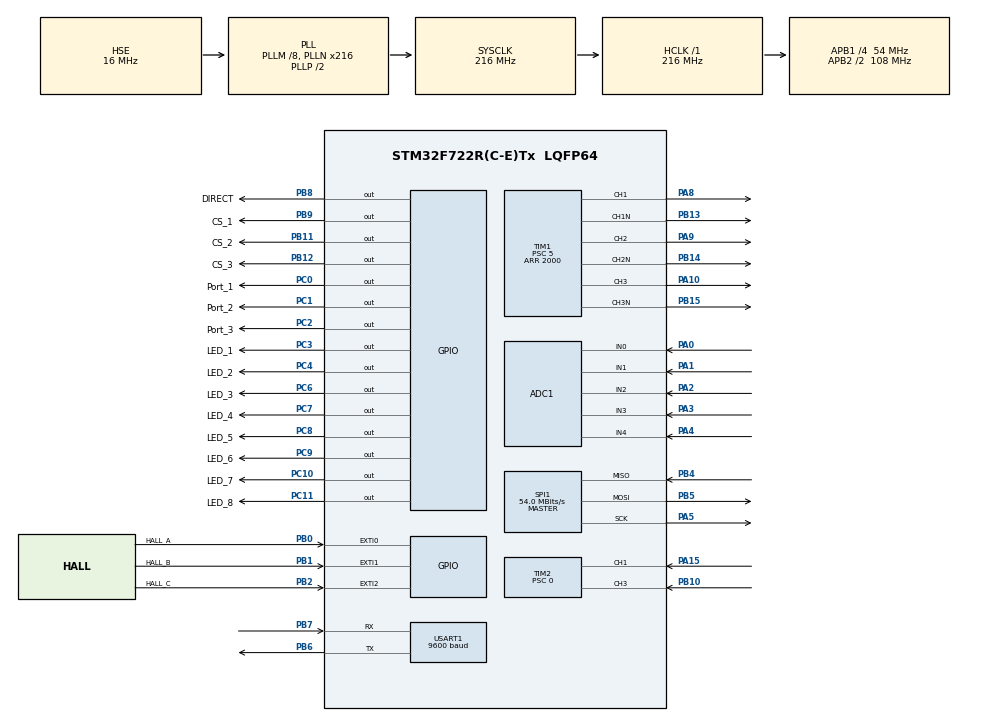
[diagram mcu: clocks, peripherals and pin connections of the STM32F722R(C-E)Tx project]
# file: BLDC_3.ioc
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ADC1.Channel-0\#ChannelRegularConversion=ADC_CHANNEL_0
ADC1.NbrOfConversionFlag=1
ADC1.Rank-0\#ChannelRegularConversion=1
ADC1.SamplingTime-0\#ChannelRegularConversion=ADC_SAMPLETIME_3CYCLES
ADC1.master=1
CORTEX_M7.default_mode_Activation=1
Dma.Request0=USART1_RX
Dma.Request1=USART1_TX
Dma.USART1_RX.0.Direction=DMA_PERIPH_TO_MEMORY
Dma.USART1_RX.0.FIFOMode=DMA_FIFOMODE_DISABLE
Dma.USART1_RX.0.Instance=DMA2_Stream2
Dma.USART1_RX.0.MemDataAlignment=DMA_MDATAALIGN_BYTE
Dma.USART1_RX.0.MemInc=DMA_MINC_ENABLE
Dma.USART1_RX.0.Mode=DMA_NORMAL
Dma.USART1_RX.0.PeriphDataAlignment=DMA_PDATAALIGN_BYTE
Dma.USART1_RX.0.PeriphInc=DMA_PINC_DISABLE
Dma.USART1_RX.0.Priority=DMA_PRIORITY_HIGH
Dma.USART1_TX.1.Direction=DMA_MEMORY_TO_PERIPH
Dma.USART1_TX.1.FIFOMode=DMA_FIFOMODE_DISABLE
Dma.USART1_TX.1.Instance=DMA2_Stream7
Dma.USART1_TX.1.MemDataAlignment=DMA_MDATAALIGN_BYTE
Dma.USART1_TX.1.MemInc=DMA_MINC_ENABLE
Dma.USART1_TX.1.Mode=DMA_NORMAL
Dma.USART1_TX.1.PeriphDataAlignment=DMA_PDATAALIGN_BYTE
Dma.USART1_TX.1.PeriphInc=DMA_PINC_DISABLE
Dma.USART1_TX.1.Priority=DMA_PRIORITY_LOW
FREERTOS.Tasks01=defaultTask,24,128,StartDefaultTask,Default,NULL,Dynamic,NULL,NULL;ModBusData,24,128,StartTask02,Default,NULL,Dynamic,NULL,NULL
FREERTOS.configUSE_NEWLIB_REENTRANT=1
Mcu.Family=STM32F7
Mcu.Name=STM32F722R(C-E)Tx
Mcu.Package=LQFP64
NVIC.DMA2_Stream2_IRQn=true\:5\:0\:false\:false\:true\:true\:false\:true\:true
NVIC.DMA2_Stream7_IRQn=true\:5\:0\:false\:false\:true\:true\:false\:true\:true
NVIC.EXTI0_IRQn=true\:5\:0\:true\:false\:true\:true\:true\:true\:true
NVIC.EXTI1_IRQn=true\:5\:0\:false\:false\:true\:true\:true\:true\:true
NVIC.EXTI2_IRQn=true\:5\:0\:false\:false\:true\:true\:true\:true\:true
NVIC.PriorityGroup=NVIC_PRIORITYGROUP_4
NVIC.RCC_IRQn=true\:5\:0\:false\:false\:true\:true\:true\:false\:true
NVIC.TIM2_IRQn=true\:5\:0\:false\:false\:true\:true\:true\:true\:true
NVIC.TIM8_TRG_COM_TIM14_IRQn=true\:15\:0\:false\:false\:true\:false\:false\:true\:true
NVIC.TimeBase=TIM8_TRG_COM_TIM14_IRQn
NVIC.TimeBaseIP=TIM14
NVIC.USART1_IRQn=true\:5\:0\:false\:false\:true\:true\:true\:true\:true
PA0-WKUP.Signal=ADCx_IN0
PA1.Signal=ADCx_IN1
PA10.Signal=S_TIM1_CH3
PA13.Mode=Trace_Asynchronous_SW
PA13.Signal=SYS_JTMS-SWDIO
PA14.Mode=Trace_Asynchronous_SW
PA14.Signal=SYS_JTCK-SWCLK
PA15.Signal=S_TIM2_CH1_ETR
PA2.Signal=ADCx_IN2
PA3.Signal=ADCx_IN3
PA4.Signal=ADCx_IN4
PA5.Mode=Full_Duplex_Master
PA5.Signal=SPI1_SCK
PA8.Signal=S_TIM1_CH1
PA9.Signal=S_TIM1_CH2
PB0.GPIO_Label=HALL_A
PB0.GPIO_ModeDefaultEXTI=GPIO_MODE_IT_RISING_FALLING
PB0.Signal=GPXTI0
PB1.GPIO_Label=HALL_B
PB1.GPIO_ModeDefaultEXTI=GPIO_MODE_IT_RISING_FALLING
PB1.Signal=GPXTI1
PB10.Signal=S_TIM2_CH3
PB11.GPIO_Label=CS_2
PB11.Signal=GPIO_Output
PB12.GPIO_Label=CS_3
PB12.Signal=GPIO_Output
PB13.Mode=PWM Generation1 CH1 CH1N
PB13.Signal=TIM1_CH1N
PB14.Mode=PWM Generation2 CH2 CH2N
PB14.Signal=TIM1_CH2N
PB15.Mode=PWM Generation3 CH3 CH3N
PB15.Signal=TIM1_CH3N
PB2.GPIO_Label=HALL_C
PB2.GPIO_ModeDefaultEXTI=GPIO_MODE_IT_RISING_FALLING
PB2.Signal=GPXTI2
PB3.Mode=Trace_Asynchronous_SW
PB3.Signal=SYS_JTDO-SWO
PB4.Mode=Full_Duplex_Master
PB4.Signal=SPI1_MISO
PB5.Mode=Full_Duplex_Master
PB5.Signal=SPI1_MOSI
PB6.Mode=Asynchronous
PB6.Signal=USART1_TX
PB7.Mode=Asynchronous
PB7.Signal=USART1_RX
PB8.GPIO_Label=DIRECT
PB8.Signal=GPIO_Output
PB9.GPIO_Label=CS_1
PB9.Signal=GPIO_Output
PC0.GPIO_Label=Port_1
PC0.Signal=GPIO_Output
PC1.GPIO_Label=Port_2
PC1.Signal=GPIO_Output
PC10.GPIO_Label=LED_7
PC10.Signal=GPIO_Output
PC11.GPIO_Label=LED_8
PC11.Signal=GPIO_Output
PC2.GPIO_Label=Port_3
PC2.Signal=GPIO_Output
PC3.GPIO_Label=LED_1
PC3.Signal=GPIO_Output
PC4.GPIO_Label=LED_2
PC4.Signal=GPIO_Output
PC6.GPIO_Label=LED_3
PC6.Signal=GPIO_Output
PC7.GPIO_Label=LED_4
PC7.Signal=GPIO_Output
PC8.GPIO_Label=LED_5
PC8.Signal=GPIO_Output
PC9.GPIO_Label=LED_6
PC9.Signal=GPIO_Output
PH0-OSC_IN.Mode=HSE-External-Oscillator
PH0-OSC_IN.Signal=RCC_OSC_IN
PH1-OSC_OUT.Mode=HSE-External-Oscillator
PH1-OSC_OUT.Signal=RCC_OSC_OUT
ProjectManager.HeapSize=0x200
ProjectManager.StackSize=0x400
ProjectManager.TargetToolchain=STM32CubeIDE
RCC.AHBFreq_Value=216000000
RCC.APB1CLKDivider=RCC_HCLK_DIV4
RCC.APB1Freq_Value=54000000
RCC.APB1TimFreq_Value=108000000
RCC.APB2CLKDivider=RCC_HCLK_DIV2
RCC.APB2Freq_Value=108000000
RCC.APB2TimFreq_Value=216000000
RCC.CortexFreq_Value=216000000
RCC.HCLKFreq_Value=216000000
RCC.HSE_VALUE=16000000
RCC.HSI_VALUE=16000000
RCC.LSE_VALUE=32768
RCC.PLLM=8
RCC.PLLN=216
RCC.PLLSourceVirtual=RCC_PLLSOURCE_HSE
RCC.SYSCLKFreq_VALUE=216000000
RCC.SYSCLKSource=RCC_SYSCLKSOURCE_PLLCLK
RCC.USBFreq_Value=216000000
RCC.VCOOutputFreq_Value=432000000
SH.ADCx_IN0.0=ADC1_IN0,IN0
SH.ADCx_IN1.0=ADC1_IN1,IN1
SH.ADCx_IN2.0=ADC1_IN2,IN2
SH.ADCx_IN3.0=ADC1_IN3,IN3
SH.ADCx_IN4.0=ADC1_IN4,IN4
SH.S_TIM1_CH1.0=TIM1_CH1,PWM Generation1 CH1 CH1N
SH.S_TIM1_CH2.0=TIM1_CH2,PWM Generation2 CH2 CH2N
SH.S_TIM1_CH3.0=TIM1_CH3,PWM Generation3 CH3 CH3N
SH.S_TIM2_CH1_ETR.0=TIM2_CH1,Input_Capture1_from_TI1
SH.S_TIM2_CH3.0=TIM2_CH3,Input_Capture3_from_TI3
SPI1.BaudRatePrescaler=SPI_BAUDRATEPRESCALER_2
SPI1.CalculateBaudRate=54.0 MBits/s
SPI1.Direction=SPI_DIRECTION_2LINES
SPI1.Mode=SPI_MODE_MASTER
SPI1.VirtualType=VM_MASTER
TIM1.Channel-PWM\ Generation1\ CH1\ CH1N=TIM_CHANNEL_1
TIM1.Channel-PWM\ Generation2\ CH2\ CH2N=TIM_CHANNEL_2
TIM1.Channel-PWM\ Generation3\ CH3\ CH3N=TIM_CHANNEL_3
TIM1.DeadTime=255
TIM1.OCFastMode_PWM-PWM\ Generation1\ CH1\ CH1N=TIM_OCFAST_ENABLE
TIM1.OCFastMode_PWM-PWM\ Generation2\ CH2\ CH2N=TIM_OCFAST_ENABLE
TIM1.OCFastMode_PWM-PWM\ Generation3\ CH3\ CH3N=TIM_OCFAST_ENABLE
TIM1.OCIdleState_1=TIM_OCIDLESTATE_RESET
TIM1.OCIdleState_2=TIM_OCIDLESTATE_RESET
TIM1.OCIdleState_3=TIM_OCIDLESTATE_RESET
TIM1.OCNIdleState_1=TIM_OCNIDLESTATE_RESET
TIM1.OCNIdleState_2=TIM_OCNIDLESTATE_RESET
TIM1.OCNIdleState_3=TIM_OCNIDLESTATE_RESET
TIM1.OCNPolarity_1=TIM_OCNPOLARITY_HIGH
TIM1.OCNPolarity_2=TIM_OCNPOLARITY_HIGH
TIM1.OCNPolarity_3=TIM_OCNPOLARITY_HIGH
TIM1.OCPolarity_1=TIM_OCPOLARITY_HIGH
TIM1.OCPolarity_2=TIM_OCPOLARITY_HIGH
TIM1.OCPolarity_3=TIM_OCPOLARITY_HIGH
TIM1.Period=2000
TIM1.Prescaler=5
TIM1.Pulse-PWM\ Generation1\ CH1\ CH1N=1000
TIM1.Pulse-PWM\ Generation2\ CH2\ CH2N=1000
TIM1.Pulse-PWM\ Generation3\ CH3\ CH3N=1000
TIM2.Channel-Input_Capture1_from_TI1=TIM_CHANNEL_1
TIM2.Channel-Input_Capture2_from_TI1_63=TIM_CHANNEL_2
TIM2.Channel-Input_Capture3_from_TI3=TIM_CHANNEL_3
TIM2.Channel-Input_Capture4_from_TI3_63=TIM_CHANNEL_4
TIM2.ICFilter_CH1=13
TIM2.ICFilter_CH3=13
TIM2.ICPolarity_CH1=TIM_INPUTCHANNELPOLARITY_FALLING
TIM2.ICPolarity_CH2=TIM_INPUTCHANNELPOLARITY_RISING
TIM2.Prescaler=0
USART1.BaudRate=9600
USART1.VirtualMode-Asynchronous=VM_ASYNC
VP_FREERTOS_VS_CMSIS_V2.Mode=CMSIS_V2
VP_SYS_VS_tim14.Mode=TIM14
VP_TIM1_VS_ClockSourceINT.Mode=Internal
VP_TIM2_VS_ClockSourceINT.Mode=Internal
VP_TIM2_VS_indirect_ch1.Mode=Input_Capture2_from_TI1_63
VP_TIM2_VS_indirect_ch3.Mode=Input_Capture4_from_TI3_63
board=custom

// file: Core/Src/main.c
/* USER CODE BEGIN Header */
/**
  ******************************************************************************
  * @file           : main.c
  * @brief          : Main program body
  ******************************************************************************
  * @attention
  *
  * Copyright (c) 2025 STMicroelectronics.
  * All rights reserved.
  *
  * This software is licensed under terms that can be found in the LICENSE file
  * in the root directory of this software component.
  * If no LICENSE file comes with this software, it is provided AS-IS.
  *
  ******************************************************************************
  */
/* USER CODE END Header */
#include "main.h"
#include "cmsis_os.h"

/* USER CODE BEGIN Includes */
#include "stdbool.h"
#include "modbusDevice.h"
#include "modbusSlave.h"
#include "Registers_handler.h"
#include "BLDC.h"
/* USER CODE END Includes */

/* USER CODE BEGIN PTD */

#define RX_BUFFER_SIZE 64
#define USART_TIMEOUT 900 // Таймаут в миллисекундах
#define ROTATE_TIME 2000
#define UPDATE_TIME 1000 //время прироста ШИМ на один шаг
#define ADC_NUM_CHANNELS 4  // Количество каналов

// Константы для избежания плавающей точки
#define CPU_FREQ_HZ 216000000
#define CALC_CONSTANT (60 * CPU_FREQ_HZ / NUM_MAGNETS)

#define ANGLE_OF_ATTACK 15
uint16_t adc_values[ADC_NUM_CHANNELS];
uint32_t lastActivityTime = 0;
 bool usartBusy = false;
 uint8_t rxFrame[64];
 uint8_t txFrame[255];
 uint8_t SLAVE_ID=2;
 uint16_t data_reg[16]={0,};
 uint16_t rcv_data_reg[16]={0,};
 uint8_t dicreteInputs=0;
 uint8_t coils=0;
 uint16_t timer1Freq=0;
 uint16_t timer3Freq=0;
 uint16_t auto_mode_timer=0;
 uint32_t pwm=0;

 uint32_t timerClockFreq = 72000000;
 volatile uint32_t period=0;
 uint16_t f=0;
 volatile uint32_t rpm=0;
 uint32_t moove=0;

 bool pwm_status=0;
 bool dataStates[16];
 bool coil_1=0;
 bool coil_2=0;
 bool coil_3=0;
 bool coil_4=0;

 bool BLDC_STATE[3] = {0,0,0};
 bool auto_mode=0;
 bool pwr_on=0;

/* USER CODE END PTD */

ADC_HandleTypeDef hadc1;

SPI_HandleTypeDef hspi1;

TIM_HandleTypeDef htim1;
TIM_HandleTypeDef htim2;

UART_HandleTypeDef huart1;
DMA_HandleTypeDef hdma_usart1_rx;
DMA_HandleTypeDef hdma_usart1_tx;

/* Definitions for defaultTask */
osThreadId_t defaultTaskHandle;
const osThreadAttr_t defaultTask_attributes = {
  .name = "defaultTask",
  .stack_size = 128 * 4,
  .priority = (osPriority_t) osPriorityNormal,
};
/* Definitions for ModBusData */
osThreadId_t ModBusDataHandle;
const osThreadAttr_t ModBusData_attributes = {
  .name = "ModBusData",
  .stack_size = 128 * 4,
  .priority = (osPriority_t) osPriorityNormal,
};

void SystemClock_Config(void);
static void MPU_Config(void);
static void MX_GPIO_Init(void);
static void MX_DMA_Init(void);
static void MX_TIM1_Init(void);
static void MX_TIM2_Init(void);
static void MX_USART1_UART_Init(void);
static void MX_ADC1_Init(void);
static void MX_SPI1_Init(void);
void StartDefaultTask(void *argument);
void StartTask02(void *argument);

/* USER CODE BEGIN PFP */
void Check_USART1_Timeout(void);
void Reset_USART1(void);
uint16_t calculateTimerFrequency(TIM_TypeDef *TIMx, uint32_t timerClockFreq);
/* USER CODE END PFP */

int main(void)
{

  /* MPU Configuration--------------------------------------------------------*/
  MPU_Config();

  /* MCU Configuration--------------------------------------------------------*/

  /* Reset of all peripherals, Initializes the Flash interface and the Systick. */
  HAL_Init();

  /* Configure the system clock */
  SystemClock_Config();

  /* Initialize all configured peripherals */
  MX_GPIO_Init();
  MX_DMA_Init();
  MX_TIM1_Init();
  MX_TIM2_Init();
  MX_USART1_UART_Init();
  MX_ADC1_Init();
  MX_SPI1_Init();
  /* USER CODE BEGIN 2 */
  TX_2;
  LED_1_ON ;
  LED_2_ON ;
  LED_3_ON ;
  LED_4_ON ;
  LED_5_ON ;
  LED_6_ON ;
  LED_7_ON ;
  LED_8_ON ;
  HAL_Delay(500);
  DRIVE_1_ON;
  DRIVE_2_ON;
  DRIVE_3_ON;
  HAL_UARTEx_ReceiveToIdle_DMA(&huart1, rxFrame, RX_BUFFER_SIZE);
    __HAL_DMA_DISABLE_IT(&hdma_usart1_rx, DMA_IT_HT);

    HAL_TIM_Base_Start_IT(&htim2);
    HAL_TIM_IC_Start_IT(&htim2, TIM_CHANNEL_1);
    HAL_TIM_IC_Start_IT(&htim2, TIM_CHANNEL_2);
    HAL_TIM_IC_Start_IT(&htim2, TIM_CHANNEL_3);
    HAL_TIM_IC_Start_IT(&htim2, TIM_CHANNEL_4);
/*
    HAL_TIM_PWM_Start(&htim1, TIM_CHANNEL_1);
	HAL_TIMEx_PWMN_Start(&htim1, TIM_CHANNEL_1);
	HAL_TIM_PWM_Start(&htim1, TIM_CHANNEL_2);
	HAL_TIMEx_PWMN_Start(&htim1, TIM_CHANNEL_2);
	HAL_TIM_PWM_Start(&htim1, TIM_CHANNEL_3);
	HAL_TIMEx_PWMN_Start(&htim1, TIM_CHANNEL_3);
*/
    LED_1_OFF ;
    LED_2_OFF ;
    LED_3_OFF ;
    LED_4_OFF ;
    LED_5_OFF ;
    LED_6_OFF ;
    LED_7_OFF ;
    LED_8_OFF ;
  //  DRIVE_1_OFF;
  //  DRIVE_2_OFF;
  //  DRIVE_3_OFF;
    RX_2;

  /* USER CODE END 2 */

  /* Init scheduler */
  osKernelInitialize();

  /* Create the thread(s) */
  /* creation of defaultTask */
  defaultTaskHandle = osThreadNew(StartDefaultTask, NULL, &defaultTask_attributes);

  /* creation of ModBusData */
  ModBusDataHandle = osThreadNew(StartTask02, NULL, &ModBusData_attributes);

  /* Start scheduler */
  osKernelStart();

  /* We should never get here as control is now taken by the scheduler */

  /* Infinite loop */
  while (1)
  {

  }
}

void SystemClock_Config(void)
{
  RCC_OscInitTypeDef RCC_OscInitStruct = {0};
  RCC_ClkInitTypeDef RCC_ClkInitStruct = {0};

  /** Configure the main internal regulator output voltage
  */
  __HAL_RCC_PWR_CLK_ENABLE();
  __HAL_PWR_VOLTAGESCALING_CONFIG(PWR_REGULATOR_VOLTAGE_SCALE1);

  /** Initializes the RCC Oscillators according to the specified parameters
  * in the RCC_OscInitTypeDef structure.
  */
  RCC_OscInitStruct.OscillatorType = RCC_OSCILLATORTYPE_HSE;
  RCC_OscInitStruct.HSEState = RCC_HSE_ON;
  RCC_OscInitStruct.PLL.PLLState = RCC_PLL_ON;
  RCC_OscInitStruct.PLL.PLLSource = RCC_PLLSOURCE_HSE;
  RCC_OscInitStruct.PLL.PLLM = 8;
  RCC_OscInitStruct.PLL.PLLN = 216;
  RCC_OscInitStruct.PLL.PLLP = RCC_PLLP_DIV2;
  RCC_OscInitStruct.PLL.PLLQ = 2;
  if (HAL_RCC_OscConfig(&RCC_OscInitStruct) != HAL_OK)
  {
    Error_Handler();
  }

  /** Activate the Over-Drive mode
  */
  if (HAL_PWREx_EnableOverDrive() != HAL_OK)
  {
    Error_Handler();
  }

  /** Initializes the CPU, AHB and APB buses clocks
  */
  RCC_ClkInitStruct.ClockType = RCC_CLOCKTYPE_HCLK|RCC_CLOCKTYPE_SYSCLK
                              |RCC_CLOCKTYPE_PCLK1|RCC_CLOCKTYPE_PCLK2;
  RCC_ClkInitStruct.SYSCLKSource = RCC_SYSCLKSOURCE_PLLCLK;
  RCC_ClkInitStruct.AHBCLKDivider = RCC_SYSCLK_DIV1;
  RCC_ClkInitStruct.APB1CLKDivider = RCC_HCLK_DIV4;
  RCC_ClkInitStruct.APB2CLKDivider = RCC_HCLK_DIV2;

  if (HAL_RCC_ClockConfig(&RCC_ClkInitStruct, FLASH_LATENCY_7) != HAL_OK)
  {
    Error_Handler();
  }
}

static void MX_ADC1_Init(void)
{

  ADC_ChannelConfTypeDef sConfig = {0};

  /** Configure the global features of the ADC (Clock, Resolution, Data Alignment and number of conversion)
  */
  hadc1.Instance = ADC1;
  hadc1.Init.ClockPrescaler = ADC_CLOCK_SYNC_PCLK_DIV4;
  hadc1.Init.Resolution = ADC_RESOLUTION_12B;
  hadc1.Init.ScanConvMode = ADC_SCAN_DISABLE;
  hadc1.Init.ContinuousConvMode = DISABLE;
  hadc1.Init.DiscontinuousConvMode = DISABLE;
  hadc1.Init.ExternalTrigConvEdge = ADC_EXTERNALTRIGCONVEDGE_NONE;
  hadc1.Init.ExternalTrigConv = ADC_SOFTWARE_START;
  hadc1.Init.DataAlign = ADC_DATAALIGN_RIGHT;
  hadc1.Init.NbrOfConversion = 1;
  hadc1.Init.DMAContinuousRequests = DISABLE;
  hadc1.Init.EOCSelection = ADC_EOC_SINGLE_CONV;
  if (HAL_ADC_Init(&hadc1) != HAL_OK)
  {
    Error_Handler();
  }

  /** Configure for the selected ADC regular channel its corresponding rank in the sequencer and its sample time.
  */
  sConfig.Channel = ADC_CHANNEL_0;
  sConfig.Rank = ADC_REGULAR_RANK_1;
  sConfig.SamplingTime = ADC_SAMPLETIME_3CYCLES;
  if (HAL_ADC_ConfigChannel(&hadc1, &sConfig) != HAL_OK)
  {
    Error_Handler();
  }

}

static void MX_SPI1_Init(void)
{

  /* SPI1 parameter configuration*/
  hspi1.Instance = SPI1;
  hspi1.Init.Mode = SPI_MODE_MASTER;
  hspi1.Init.Direction = SPI_DIRECTION_2LINES;
  hspi1.Init.DataSize = SPI_DATASIZE_4BIT;
  hspi1.Init.CLKPolarity = SPI_POLARITY_LOW;
  hspi1.Init.CLKPhase = SPI_PHASE_1EDGE;
  hspi1.Init.NSS = SPI_NSS_SOFT;
  hspi1.Init.BaudRatePrescaler = SPI_BAUDRATEPRESCALER_2;
  hspi1.Init.FirstBit = SPI_FIRSTBIT_MSB;
  hspi1.Init.TIMode = SPI_TIMODE_DISABLE;
  hspi1.Init.CRCCalculation = SPI_CRCCALCULATION_DISABLE;
  hspi1.Init.CRCPolynomial = 7;
  hspi1.Init.CRCLength = SPI_CRC_LENGTH_DATASIZE;
  hspi1.Init.NSSPMode = SPI_NSS_PULSE_ENABLE;
  if (HAL_SPI_Init(&hspi1) != HAL_OK)
  {
    Error_Handler();
  }

}

static void MX_TIM1_Init(void)
{

  TIM_ClockConfigTypeDef sClockSourceConfig = {0};
  TIM_MasterConfigTypeDef sMasterConfig = {0};
  TIM_OC_InitTypeDef sConfigOC = {0};
  TIM_BreakDeadTimeConfigTypeDef sBreakDeadTimeConfig = {0};

  htim1.Instance = TIM1;
  htim1.Init.Prescaler = 5;
  htim1.Init.CounterMode = TIM_COUNTERMODE_UP;
  htim1.Init.Period = 2000;
  htim1.Init.ClockDivision = TIM_CLOCKDIVISION_DIV1;
  htim1.Init.RepetitionCounter = 0;
  htim1.Init.AutoReloadPreload = TIM_AUTORELOAD_PRELOAD_DISABLE;
  if (HAL_TIM_Base_Init(&htim1) != HAL_OK)
  {
    Error_Handler();
  }
  sClockSourceConfig.ClockSource = TIM_CLOCKSOURCE_INTERNAL;
  if (HAL_TIM_ConfigClockSource(&htim1, &sClockSourceConfig) != HAL_OK)
  {
    Error_Handler();
  }
  if (HAL_TIM_PWM_Init(&htim1) != HAL_OK)
  {
    Error_Handler();
  }
  sMasterConfig.MasterOutputTrigger = TIM_TRGO_RESET;
  sMasterConfig.MasterOutputTrigger2 = TIM_TRGO2_RESET;
  sMasterConfig.MasterSlaveMode = TIM_MASTERSLAVEMODE_DISABLE;
  if (HAL_TIMEx_MasterConfigSynchronization(&htim1, &sMasterConfig) != HAL_OK)
  {
    Error_Handler();
  }
  sConfigOC.OCMode = TIM_OCMODE_PWM1;
  sConfigOC.Pulse = 1000;
  sConfigOC.OCPolarity = TIM_OCPOLARITY_HIGH;
  sConfigOC.OCNPolarity = TIM_OCNPOLARITY_HIGH;
  sConfigOC.OCFastMode = TIM_OCFAST_ENABLE;
  sConfigOC.OCIdleState = TIM_OCIDLESTATE_RESET;
  sConfigOC.OCNIdleState = TIM_OCNIDLESTATE_RESET;
  if (HAL_TIM_PWM_ConfigChannel(&htim1, &sConfigOC, TIM_CHANNEL_1) != HAL_OK)
  {
    Error_Handler();
  }
  if (HAL_TIM_PWM_ConfigChannel(&htim1, &sConfigOC, TIM_CHANNEL_2) != HAL_OK)
  {
    Error_Handler();
  }
  if (HAL_TIM_PWM_ConfigChannel(&htim1, &sConfigOC, TIM_CHANNEL_3) != HAL_OK)
  {
    Error_Handler();
  }
  sBreakDeadTimeConfig.OffStateRunMode = TIM_OSSR_DISABLE;
  sBreakDeadTimeConfig.OffStateIDLEMode = TIM_OSSI_DISABLE;
  sBreakDeadTimeConfig.LockLevel = TIM_LOCKLEVEL_OFF;
  sBreakDeadTimeConfig.DeadTime = 255;
  sBreakDeadTimeConfig.BreakState = TIM_BREAK_DISABLE;
  sBreakDeadTimeConfig.BreakPolarity = TIM_BREAKPOLARITY_HIGH;
  sBreakDeadTimeConfig.BreakFilter = 0;
  sBreakDeadTimeConfig.Break2State = TIM_BREAK2_DISABLE;
  sBreakDeadTimeConfig.Break2Polarity = TIM_BREAK2POLARITY_HIGH;
  sBreakDeadTimeConfig.Break2Filter = 0;
  sBreakDeadTimeConfig.AutomaticOutput = TIM_AUTOMATICOUTPUT_DISABLE;
  if (HAL_TIMEx_ConfigBreakDeadTime(&htim1, &sBreakDeadTimeConfig) != HAL_OK)
  {
    Error_Handler();
  }
  HAL_TIM_MspPostInit(&htim1);

}

static void MX_TIM2_Init(void)
{

  TIM_ClockConfigTypeDef sClockSourceConfig = {0};
  TIM_MasterConfigTypeDef sMasterConfig = {0};
  TIM_IC_InitTypeDef sConfigIC = {0};

  htim2.Instance = TIM2;
  htim2.Init.Prescaler = 0;
  htim2.Init.CounterMode = TIM_COUNTERMODE_UP;
  htim2.Init.Period = 4294967295;
  htim2.Init.ClockDivision = TIM_CLOCKDIVISION_DIV1;
  htim2.Init.AutoReloadPreload = TIM_AUTORELOAD_PRELOAD_DISABLE;
  if (HAL_TIM_Base_Init(&htim2) != HAL_OK)
  {
    Error_Handler();
  }
  sClockSourceConfig.ClockSource = TIM_CLOCKSOURCE_INTERNAL;
  if (HAL_TIM_ConfigClockSource(&htim2, &sClockSourceConfig) != HAL_OK)
  {
    Error_Handler();
  }
  if (HAL_TIM_IC_Init(&htim2) != HAL_OK)
  {
    Error_Handler();
  }
  sMasterConfig.MasterOutputTrigger = TIM_TRGO_RESET;
  sMasterConfig.MasterSlaveMode = TIM_MASTERSLAVEMODE_DISABLE;
  if (HAL_TIMEx_MasterConfigSynchronization(&htim2, &sMasterConfig) != HAL_OK)
  {
    Error_Handler();
  }
  sConfigIC.ICPolarity = TIM_INPUTCHANNELPOLARITY_FALLING;
  sConfigIC.ICSelection = TIM_ICSELECTION_DIRECTTI;
  sConfigIC.ICPrescaler = TIM_ICPSC_DIV1;
  sConfigIC.ICFilter = 13;
  if (HAL_TIM_IC_ConfigChannel(&htim2, &sConfigIC, TIM_CHANNEL_1) != HAL_OK)
  {
    Error_Handler();
  }
  sConfigIC.ICPolarity = TIM_INPUTCHANNELPOLARITY_RISING;
  sConfigIC.ICSelection = TIM_ICSELECTION_INDIRECTTI;
  sConfigIC.ICFilter = 0;
  if (HAL_TIM_IC_ConfigChannel(&htim2, &sConfigIC, TIM_CHANNEL_2) != HAL_OK)
  {
    Error_Handler();
  }
  sConfigIC.ICSelection = TIM_ICSELECTION_DIRECTTI;
  sConfigIC.ICFilter = 13;
  if (HAL_TIM_IC_ConfigChannel(&htim2, &sConfigIC, TIM_CHANNEL_3) != HAL_OK)
  {
    Error_Handler();
  }
  sConfigIC.ICSelection = TIM_ICSELECTION_INDIRECTTI;
  sConfigIC.ICFilter = 0;
  if (HAL_TIM_IC_ConfigChannel(&htim2, &sConfigIC, TIM_CHANNEL_4) != HAL_OK)
  {
    Error_Handler();
  }

}

static void MX_USART1_UART_Init(void)
{

  huart1.Instance = USART1;
  huart1.Init.BaudRate = 9600;
  huart1.Init.WordLength = UART_WORDLENGTH_8B;
  huart1.Init.StopBits = UART_STOPBITS_1;
  huart1.Init.Parity = UART_PARITY_NONE;
  huart1.Init.Mode = UART_MODE_TX_RX;
  huart1.Init.HwFlowCtl = UART_HWCONTROL_NONE;
  huart1.Init.OverSampling = UART_OVERSAMPLING_16;
  huart1.Init.OneBitSampling = UART_ONE_BIT_SAMPLE_DISABLE;
  huart1.AdvancedInit.AdvFeatureInit = UART_ADVFEATURE_NO_INIT;
  if (HAL_UART_Init(&huart1) != HAL_OK)
  {
    Error_Handler();
  }

}

static void MX_DMA_Init(void)
{

  /* DMA controller clock enable */
  __HAL_RCC_DMA2_CLK_ENABLE();

  /* DMA interrupt init */
  /* DMA2_Stream2_IRQn interrupt configuration */
  HAL_NVIC_SetPriority(DMA2_Stream2_IRQn, 5, 0);
  HAL_NVIC_EnableIRQ(DMA2_Stream2_IRQn);
  /* DMA2_Stream7_IRQn interrupt configuration */
  HAL_NVIC_SetPriority(DMA2_Stream7_IRQn, 5, 0);
  HAL_NVIC_EnableIRQ(DMA2_Stream7_IRQn);

}

static void MX_GPIO_Init(void)
{
  GPIO_InitTypeDef GPIO_InitStruct = {0};

  /* GPIO Ports Clock Enable */
  __HAL_RCC_GPIOH_CLK_ENABLE();
  __HAL_RCC_GPIOC_CLK_ENABLE();
  __HAL_RCC_GPIOA_CLK_ENABLE();
  __HAL_RCC_GPIOB_CLK_ENABLE();

  /*Configure GPIO pin Output Level */
  HAL_GPIO_WritePin(GPIOC, Port_1_Pin|Port_2_Pin|Port_3_Pin|LED_1_Pin
                          |LED_2_Pin|LED_3_Pin|LED_4_Pin|LED_5_Pin
                          |LED_6_Pin|LED_7_Pin|LED_8_Pin, GPIO_PIN_RESET);

  /*Configure GPIO pin Output Level */
  HAL_GPIO_WritePin(GPIOB, CS_2_Pin|CS_3_Pin|DIRECT_Pin|CS_1_Pin, GPIO_PIN_RESET);

  /*Configure GPIO pins : Port_1_Pin Port_2_Pin Port_3_Pin LED_1_Pin
                           LED_2_Pin LED_3_Pin LED_4_Pin LED_5_Pin
                           LED_6_Pin LED_7_Pin LED_8_Pin */
  GPIO_InitStruct.Pin = Port_1_Pin|Port_2_Pin|Port_3_Pin|LED_1_Pin
                          |LED_2_Pin|LED_3_Pin|LED_4_Pin|LED_5_Pin
                          |LED_6_Pin|LED_7_Pin|LED_8_Pin;
  GPIO_InitStruct.Mode = GPIO_MODE_OUTPUT_PP;
  GPIO_InitStruct.Pull = GPIO_NOPULL;
  GPIO_InitStruct.Speed = GPIO_SPEED_FREQ_LOW;
  HAL_GPIO_Init(GPIOC, &GPIO_InitStruct);

  /*Configure GPIO pins : HALL_A_Pin HALL_B_Pin HALL_C_Pin */
  GPIO_InitStruct.Pin = HALL_A_Pin|HALL_B_Pin|HALL_C_Pin;
  GPIO_InitStruct.Mode = GPIO_MODE_IT_RISING_FALLING;
  GPIO_InitStruct.Pull = GPIO_NOPULL;
  HAL_GPIO_Init(GPIOB, &GPIO_InitStruct);

  /*Configure GPIO pins : CS_2_Pin CS_3_Pin DIRECT_Pin CS_1_Pin */
  GPIO_InitStruct.Pin = CS_2_Pin|CS_3_Pin|DIRECT_Pin|CS_1_Pin;
  GPIO_InitStruct.Mode = GPIO_MODE_OUTPUT_PP;
  GPIO_InitStruct.Pull = GPIO_NOPULL;
  GPIO_InitStruct.Speed = GPIO_SPEED_FREQ_LOW;
  HAL_GPIO_Init(GPIOB, &GPIO_InitStruct);

  /* EXTI interrupt init*/
  HAL_NVIC_SetPriority(EXTI0_IRQn, 5, 0);
  HAL_NVIC_EnableIRQ(EXTI0_IRQn);

  HAL_NVIC_SetPriority(EXTI1_IRQn, 5, 0);
  HAL_NVIC_EnableIRQ(EXTI1_IRQn);

  HAL_NVIC_SetPriority(EXTI2_IRQn, 5, 0);
  HAL_NVIC_EnableIRQ(EXTI2_IRQn);

}

/* USER CODE BEGIN 4 */

uint16_t calculateTimerFrequency(TIM_TypeDef *TIMx, uint32_t timerClockFreq) {
    uint32_t arr = TIMx->ARR;  // Значение ARR
    return timerClockFreq / (arr + 1);
}

void Reset_USART1(void) {
    // Включить индикатор (если требуется)
    LED_4_ON;

    // Остановить передачу и прием по DMA
    if (HAL_UART_DMAStop(&huart1) != HAL_OK) {
        // Обработка ошибки
    }

    // Прерывание активных DMA транзакций
    if (hdma_usart1_rx.Instance != NULL) {
        HAL_DMA_Abort(&hdma_usart1_rx);
    }
    if (hdma_usart1_tx.Instance != NULL) {
        HAL_DMA_Abort(&hdma_usart1_tx);
    }

    // Отключить все прерывания UART
    __HAL_UART_DISABLE_IT(&huart1, UART_IT_IDLE | UART_IT_TC | UART_IT_RXNE);

    // Сбросить флаги ошибок UART
    __HAL_UART_CLEAR_OREFLAG(&huart1);
    __HAL_UART_CLEAR_FEFLAG(&huart1);

    // Сбросить периферийный модуль USART1
    __HAL_RCC_USART1_FORCE_RESET();
    HAL_Delay(1); // Задержка для завершения сброса
    __HAL_RCC_USART1_RELEASE_RESET();

    // Деинициализация UART
    if (HAL_UART_DeInit(&huart1) != HAL_OK) {
        // Обработка ошибки
    }

    // Повторная инициализация UART
    MX_USART1_UART_Init();

    // Повторная настройка DMA
    MX_DMA_Init();

    // Настройка UART для приема данных с использованием DMA
    if (HAL_UARTEx_ReceiveToIdle_DMA(&huart1, rxFrame, RX_BUFFER_SIZE) != HAL_OK) {
        // Обработка ошибки
    }
    __HAL_DMA_DISABLE_IT(&hdma_usart1_rx, DMA_IT_HT);

    // Сброс параметров и таймеров
    lastActivityTime = HAL_GetTick();

}

void HAL_UART_TxCpltCallback(UART_HandleTypeDef *huart)

{
	    RX_2;
	    lastActivityTime = HAL_GetTick();
	    HAL_UARTEx_ReceiveToIdle_DMA(&huart1, rxFrame,RX_BUFFER_SIZE);
	    __HAL_UART_ENABLE_IT(&huart1, UART_IT_IDLE);
	    __HAL_DMA_DISABLE_IT(&hdma_usart1_rx, DMA_IT_HT);
       LED_4_OFF;
}

void HAL_UARTEx_RxEventCallback(UART_HandleTypeDef *huart, uint16_t Size)
{
	if (huart->Instance == USART1)
	{

		lastActivityTime = HAL_GetTick();
	    __HAL_UART_DISABLE_IT(&huart1, UART_IT_IDLE);
	    HAL_DMA_Abort(&hdma_usart1_rx);
	    Registers_handler(rxFrame, data_reg, rcv_data_reg,Size);

	}
}

void Check_USART1_Timeout(void)
 {
     if (HAL_GetTick() - lastActivityTime >= USART_TIMEOUT)
     {
         Reset_USART1();
         RX_2;
     }
 }

void HAL_GPIO_EXTI_Callback(uint16_t GPIO_Pin)
{
    if(GPIO_Pin == HALL_A_Pin) // Прерывание по PB0
    {
        if (GPIO_PIN_SET == HAL_GPIO_ReadPin(HALL_A_GPIO_Port, HALL_A_Pin))
        {
            LED_1_ON;
            BLDC_STATE[0] = 0;
            BLDC_MotorCommutation(SWITCH(BLDC_STATE));
        }
        else if (GPIO_PIN_RESET == HAL_GPIO_ReadPin(HALL_A_GPIO_Port, HALL_A_Pin))
        {
            LED_1_OFF;
            BLDC_STATE[0] = 1;
            BLDC_MotorCommutation(SWITCH(BLDC_STATE));
        }
    }

    if(GPIO_Pin == HALL_B_Pin) // Прерывание по PB1
    {
        if (GPIO_PIN_SET == HAL_GPIO_ReadPin(HALL_B_GPIO_Port, HALL_B_Pin))
        {
            LED_2_ON;
            BLDC_STATE[1] = 0;
            BLDC_MotorCommutation(SWITCH(BLDC_STATE));
        }
        else if (GPIO_PIN_RESET == HAL_GPIO_ReadPin(HALL_B_GPIO_Port, HALL_B_Pin))
        {
            LED_2_OFF;
            BLDC_STATE[1] = 1;
            BLDC_MotorCommutation(SWITCH(BLDC_STATE));
        }
    }

    if(GPIO_Pin == HALL_C_Pin) // Прерывание по PB2
    {
        if (GPIO_PIN_SET == HAL_GPIO_ReadPin(HALL_C_GPIO_Port, HALL_C_Pin))
        {
            LED_3_ON;
            BLDC_STATE[2] = 0;
            BLDC_MotorCommutation(SWITCH(BLDC_STATE));
        }
        else if (GPIO_PIN_RESET == HAL_GPIO_ReadPin(HALL_C_GPIO_Port, HALL_C_Pin))
        {
            LED_3_OFF;
            BLDC_STATE[2] = 1;
            BLDC_MotorCommutation(SWITCH(BLDC_STATE));
        }
    }
}

void HAL_TIM_IC_CaptureCallback(TIM_HandleTypeDef *htim)
{
    if (htim->Instance == TIM2)
    {
        if(htim->Channel == HAL_TIM_ACTIVE_CHANNEL_1)
        {

		  period = 0;
		      TIM2->CNT = 0;
		      period = HAL_TIM_ReadCapturedValue(&htim2, TIM_CHANNEL_2);

		      // Правильные константы для 216 MHz и 8 магнитов:
		      rpm = 1620000000 / period/2;  // 216M * 60 / 8 = 1620M
		      f = 27000000 / period/2;      // 216M / 8 = 27M

		      // Корректируем граничные значения:
		      if((period > 1620000000) || (period <= 2160)) {  // period <= 2160 = ~100,000 RPM
		          rpm = 0;
		          f = 0;
		      }

        }

        if(htim->Channel == HAL_TIM_ACTIVE_CHANNEL_2)
        {
        	 moove = HAL_GetTick();
        }

        if(htim->Channel == HAL_TIM_ACTIVE_CHANNEL_3)
        {

        }

        if(htim->Channel == HAL_TIM_ACTIVE_CHANNEL_4)
        {

        }
    }

}

/* USER CODE END 4 */

void StartDefaultTask(void *argument)
{
  /* USER CODE BEGIN 5 */
  /* Infinite loop */
  for(;;)
  {
	  Check_USART1_Timeout(); // Добавьте эту строку
	  if((HAL_GetTick()-moove)>=ROTATE_TIME){rpm=0;}
	      osDelay(2000); // Проверяем каждые 100 мс (можно настроить)
  }
  /* USER CODE END 5 */
}

void StartTask02(void *argument)
{
  /* USER CODE BEGIN StartTask02 */
  /* Infinite loop */
  for(;;)
  {

	  if(auto_mode==0){

	         pwm=rcv_data_reg[0];
	         if(pwm>=TIM1->ARR){pwm=TIM1->ARR;}
	         if(pwm<=0){pwm=0;}

	         TIM1->CCR1=pwm;
	         TIM1->CCR2=pwm;
	         TIM1->CCR3=pwm;

		  }

		  if(auto_mode==1){

			  if(HAL_GetTick()-auto_mode_timer>=UPDATE_TIME){
	           pwm=pwm+5;
	           if(pwm>=TIM1->ARR){pwm=TIM1->ARR;}
	           if(pwm<=0){pwm=0;}

	           TIM1->CCR1=pwm;
	           TIM1->CCR2=pwm;
	           TIM1->CCR3=pwm;

			  auto_mode_timer=HAL_GetTick();}
		  }

	TIM1->ARR= rcv_data_reg[4];
	data_reg[0]=calculateTimerFrequency(TIM1, timerClockFreq);
	data_reg[2]=rpm;
    osDelay(100);
    data_reg[0]=calculateTimerFrequency(TIM1, timerClockFreq); //Частота ШИМ ,КГц
   	data_reg[1]=calculateTimerFrequency(TIM1, timerClockFreq); //Частота ШИМ ,КГц
   	    data_reg[2]=rpm;       //Скорость об.мин
   	    data_reg[3]=TIM1->ARR; //Период таймера 1
   	    data_reg[4]=pwm;       //Значение ШИМ

    coil_1= (rcv_data_reg[7]>>1)&0x01;
    coil_2= (rcv_data_reg[7]>>2)&0x01;
    coil_3= (rcv_data_reg[7]>>3)&0x01;
    coil_4= (rcv_data_reg[7]>>4)&0x01;
 auto_mode= (rcv_data_reg[7]>>5)&0x01;
    pwr_on= (rcv_data_reg[7]>>6)&0x01;

  }
  /* USER CODE END StartTask02 */
}

 /* MPU Configuration */

void MPU_Config(void)
{
  MPU_Region_InitTypeDef MPU_InitStruct = {0};

  /* Disables the MPU */
  HAL_MPU_Disable();

  /** Initializes and configures the Region and the memory to be protected
  */
  MPU_InitStruct.Enable = MPU_REGION_ENABLE;
  MPU_InitStruct.Number = MPU_REGION_NUMBER0;
  MPU_InitStruct.BaseAddress = 0x0;
  MPU_InitStruct.Size = MPU_REGION_SIZE_4GB;
  MPU_InitStruct.SubRegionDisable = 0x87;
  MPU_InitStruct.TypeExtField = MPU_TEX_LEVEL0;
  MPU_InitStruct.AccessPermission = MPU_REGION_NO_ACCESS;
  MPU_InitStruct.DisableExec = MPU_INSTRUCTION_ACCESS_DISABLE;
  MPU_InitStruct.IsShareable = MPU_ACCESS_SHAREABLE;
  MPU_InitStruct.IsCacheable = MPU_ACCESS_NOT_CACHEABLE;
  MPU_InitStruct.IsBufferable = MPU_ACCESS_NOT_BUFFERABLE;

  HAL_MPU_ConfigRegion(&MPU_InitStruct);
  /* Enables the MPU */
  HAL_MPU_Enable(MPU_PRIVILEGED_DEFAULT);

}

void HAL_TIM_PeriodElapsedCallback(TIM_HandleTypeDef *htim)
{
  if (htim->Instance == TIM14)
  {
    HAL_IncTick();
  }
}

void Error_Handler(void)
{
  __disable_irq();
  while (1)
  {
  }
}
